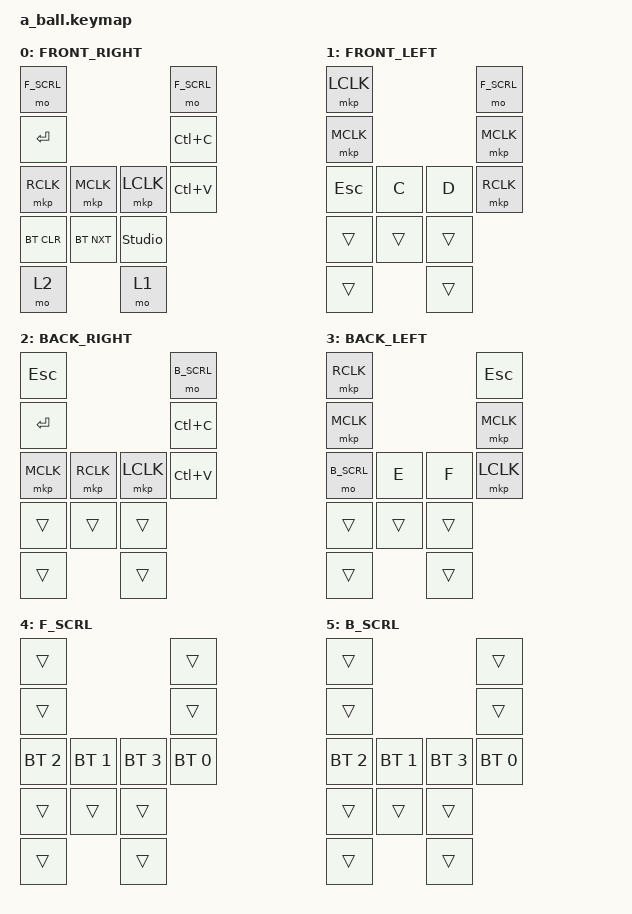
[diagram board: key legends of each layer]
#include <behaviors.dtsi>
#include <dt-bindings/zmk/keys.h>
#include <dt-bindings/zmk/bt.h>
//#include <dt-bindings/zmk/mouse.h>
#include <dt-bindings/zmk/outputs.h>
#include <dt-bindings/zmk/mouse.h>
#include <dt-bindings/zmk/ext_power.h>
//#include <behaviors/mouse_keys.dtsi>
//#include <input/processors.dtsi>


// Label re-defined: Fingers - Front, Thumb - Backwards

#define FRONT_RIGHT 0
#define FRONT_LEFT 1
#define BACK_RIGHT 2
#define BACK_LEFT 3
#define F_SCRL 4
#define B_SCRL 5

// Mouse speed increased
#define ZMK_POINTING_DEFAULT_MOVE_VAL 500  // default: 600 - original: 1000
#define ZMK_POINTING_DEFAULT_SCRL_VAL 7   // default: 10  - original: 15
//#include <dt-bindings/zmk/pointing.h>

/ {
    keymap {
        compatible = "zmk,keymap";

	// Layer 0 (This is the one that I use)
        FRONT_RIGHT {
            bindings = <
        //  ____________                           ____________
        // |Scroll Layer|                         |Scroll Layer|
		    &mo F_SCRL				               &mo F_SCRL
        // |____________|            O            |____________|
        // |   Enter    |                         |    Copy    |
		    &kp ENTER		        	           &kp LC(C)
        // |____________|____________ ____________|____________|
        // |Right Click |Middle Click| Left Click |   Paste    |
		    &mkp RCLK    &mkp MCLK    &mkp LCLK    &kp LC(V)
        // |____________|____________|____________|____________|
        /*   Orientation (Front/Backward)   Handiness L/R     */
   		  &bt BT_CLR  &bt BT_NXT   &studio_unlock
			/*&kp N1  &kp N2  &kp N3*/
               /* Orientation (Front/Backward)   Handiness L/R     */
			&mo 2                   &mo 1
            >;
        };


	// Layer 1
        FRONT_LEFT {
            bindings = <
        //  ____________                           ____________
        // |            |                         |            |
		    &mkp LCLK 				               &mo F_SCRL
        // |____________|            O            |____________|
        // |            |                         |            |
		    &mkp MCLK				               &mkp MCLK 				
        // |____________|____________ ____________|____________|
        // |            |            |            |            |
            &kp ESC      &kp C        &kp D	       &mkp RCLK
        // |____________|____________|____________|____________|
	                   /* Inner Buttons  */
		            &trans &trans &trans
               /* Orientation (Front/Backward)   Handiness L/R     */
			&trans                  &trans
            >;
        };


	// Layer 2
        BACK_RIGHT {
            bindings = <
        //  ____________                           ____________
        // |   Escape   |                         |Scroll Layer|
		    &kp ESC         			           &mo B_SCRL
        // |____________|            O            |____________|
        // |   Enter    |                         |    Copy    |
		    &kp ENTER     			               &kp LC(C)
        // |____________|____________ ____________|____________|
        // |Middle Click|Right Click | Left Click |   Paste    |
		    &mkp MCLK	 &mkp RCLK    &mkp LCLK	   &kp LC(V)
        // |____________|____________|____________|____________|
	                   /* Inner Buttons  */
		            &trans &trans &trans
               /* Orientation (Front/Backward)   Handiness L/R     */
			&trans                 &trans
            >;
        };
 
	// Layer 3
        BACK_LEFT {
            bindings = <
        //  ____________                           ____________
        // |            |                         |            |
    		&mkp RCLK				               &kp ESC
        // |____________|            O            |____________|
        // |            |                         |            |
	    	&mkp MCLK				               &mkp MCLK
        // |____________|____________ ____________|____________|
        // |            |            |            |            |
		    &mo B_SCRL   &kp E        &kp F	       &mkp LCLK
        // |____________|____________|____________|____________|
	                   /* Inner Buttons  */
		            &trans &trans &trans
               /* Orientation (Front/Backward)   Handiness L/R     */
			&trans                 &trans
            >;
         };    

	// Scroll layers do nothing by themselves, it is completely transparent.
	// It is detected in trackball_listener telling to switch from the pointing movement to scrolling.
	// Need separate layers for orientation to implement 
 	// Layers 4, 5
/* 4 */ F_SCRL      {bindings = <&trans &trans &trans &trans &bt BT_SEL 2 &bt BT_SEL 1 &bt BT_SEL 3 &bt BT_SEL 0 &trans &trans &trans &trans &trans>;};
/* 5 */ B_SCRL      {bindings = <&trans &trans &trans &trans &bt BT_SEL 2 &bt BT_SEL 1 &bt BT_SEL 3 &bt BT_SEL 0 &trans &trans &trans &trans &trans>;};

        extra1 {status = "reserved";};
        extra2 {status = "reserved";};
        extra3 {status = "reserved";};
        extra4 {status = "reserved";};
        extra5 {status = "reserved";};
        extra6 {status = "reserved";};
        extra7 {status = "reserved";};
        extra8  {status = "reserved";};

     };

    conditional_layers {
        compatible = "zmk,conditional-layers";
        tri_layer {
            if-layers = <FRONT_LEFT BACK_RIGHT>;
            then-layer = <BACK_LEFT>;
        };
    };

};
